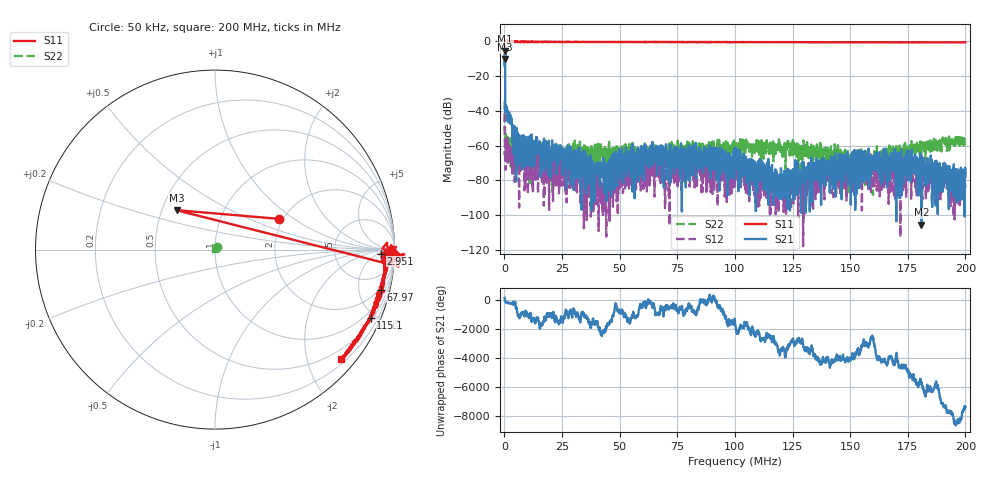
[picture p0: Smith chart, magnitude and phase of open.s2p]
! 23-Mar-26 11:48:53 AM
! E:\UPDATEDVNAMEASUREMENTS\CAL_S11S\OPEN.S2P
! CHANNEL.1
! TR.MEASUREMENT
! CORRECTED.DATA
# GHZ S RI R 50.0
! FREQ.GHZ  S11RE  S11IM  S21RE  S21IM  S12RE  S12IM  S22RE  S22IM
!; PortSelection: Port_12
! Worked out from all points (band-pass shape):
!   2000 points, 50 kHz to 200 MHz, reference 50 ohm
!   highest |S21| = -5.63 dB at 250 kHz (marker M1); lowest = -105.5 dB at 180.9 MHz (marker M2)
!   |S21| within 3 dB of the highest: 216.6 kHz to 258.6 kHz (41.97 kHz wide, 17.7 % of centre)
!   lowest |S11| = -10.3 dB at 150 kHz (marker M3), VSWR 1.88, Z = 29.9 + j14.4 ohm
!   |S11| at or under -10 dB: 136.9 kHz to 251.9 kHz (115 kHz wide, 59.2 % of centre)
!   |S22| runs from -88.3 to -34.4 dB; largest |S21 - S12| = 0.52
!   S11 on the Smith chart (normalised r, x): 50 kHz: 1.91, +0.78; 2.951 MHz: 24, -7; 67.97 MHz: 1.78, -8.03; 115.1 MHz: 0.63, -4.69; 200 MHz: 0.29, -2.65
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5e-05  0.3587 0.171  -0.2752 0.0227  0.00752 -0.00373  0.00984 0.0162
0.000150025  -0.2126 0.2193  -0.0701 0.1724  4.59e-05 -0.00053  0.00159 -0.00551
0.00025005  -0.2173 0.2202  0.2971 -0.4305  0.000649 0.000331  0.000955 -0.00134
0.001350325  1.029 -0.0574  -0.00492 0.00116  0.000491 0.000449  0.000169 -0.000443
0.002950725  0.9256 -0.0225  -0.00432 0.00127  -0.000228 -0.000258  0.00116 0.000266
0.005651401  0.9473 -0.027  -0.00144 0.00193  9.25e-05 -0.000413  0.000171 -5.86e-05
0.01425355  0.9627 -0.058  -0.0009 0.000697  -1.55e-05 -0.000133  0.000813 -0.000172
0.0192548  0.9613 -0.0678  0.000666 0.00121  -5.52e-05 -9.93e-05  0.000527 0.000835
0.024056  0.9644 -0.0842  0.000461 -0.000503  0.000118 -9.96e-05  0.000559 0.000366
0.03345835  0.9426 -0.113  -1.13e-05 -8.5e-06  0.000103 -1.75e-05  0.00036 0.000241
0.04416103  0.9437 -0.1555  -9.94e-05 -7.2e-05  1.7e-06 1.7e-06  9.98e-05 0.000235
0.04886221  0.9412 -0.1703  9.38e-05 0.00029  -6.12e-05 -0.000134  0.000357 0.000238
0.05746436  0.9363 -0.197  0.000311 0.000311  0.000144 2.11e-05  0.000695 -5.12e-05
0.06676668  0.9267 -0.2229  -0.000339 0.000769  -0.000206 -0.000134  0.000185 0.000126
0.06796698  0.923 -0.2225  -0.00103 -1.6e-06  -7.72e-05 0.000218  0.000146 0.00016
0.100075  0.8903 -0.3321  -0.000183 -0.000201  0.000199 6.9e-05  0.000924 0.000465
0.1150788  0.868 -0.3806  3.62e-05 1.9e-05  -9.3e-06 -4.18e-05  0.000213 0.000662
0.1333833  0.8345 -0.4313  0.000229 -3.04e-05  0.000139 -2.03e-05  -0.000185 0.000933
0.1517879  0.8006 -0.4853  3.76e-05 -6e-06  0.000119 9.34e-05  -0.000115 -4.56e-05
0.1666917  0.7732 -0.5283  -0.00016 -0.000367  2.04e-05 -5.1e-06  0.000474 -0.000207
0.1808952  0.7425 -0.5657  -1e-06 5.2e-06  0.000119 0.000102  0.000834 -0.000198
0.2  0.7037 -0.6103  -0.000129 -9.1e-06  -6.15e-05 -1.27e-05  0.00114 0.000834
